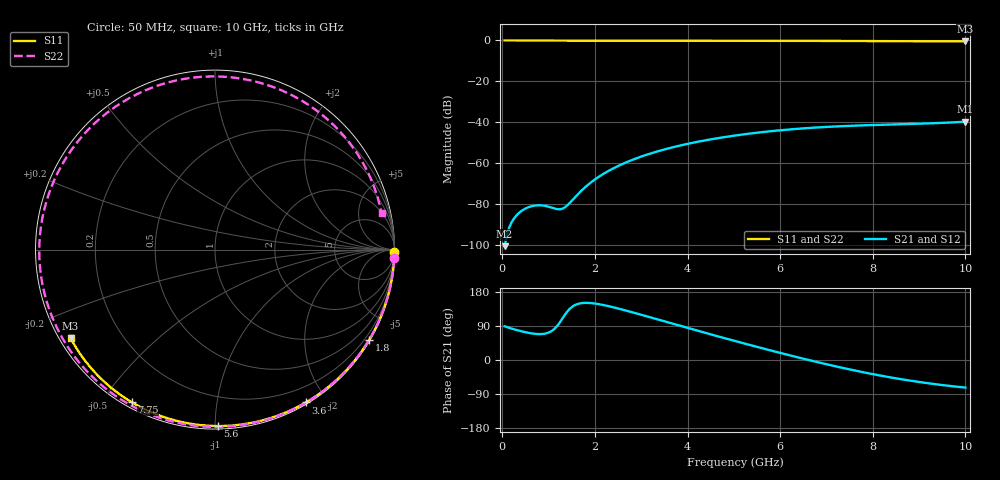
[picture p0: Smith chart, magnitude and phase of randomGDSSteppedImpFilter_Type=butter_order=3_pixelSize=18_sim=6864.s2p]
! freq	dB(S11)	phase(S11)	dB(S12)	phase(S12)
!  dB(S21)	phase(S21)	dB(S22)	phase(S22)
!S-par simulation data
#  GHz  S  DB  R 50
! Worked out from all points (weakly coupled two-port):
!   200 points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, 50 MHz to 10 GHz, reference 50 ohm
!   highest |S21| = -39.69 dB at 10 GHz (marker M1); lowest = -100.5 dB at 50 MHz (marker M2)
!   lowest |S11| = -0.5 dB at 10 GHz (marker M3), VSWR 34.50, Z = 1.56 - j14.1 ohm
!   |S11| at or under -10 dB: nowhere
!   |S22| runs from -0.4 to 0.0 dB; largest |S21 - S12| = 0
!   S11 on the Smith chart (normalised r, x): 50 MHz: open; 1.8 GHz: 0.03, -3.69; 3.6 GHz: 0.02, -1.76; 5.6 GHz: 0.02, -1.02; 7.75 GHz: 0.02, -0.59; 10 GHz: 0.03, -0.28
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0.05  -0.00 -0.9  -100.50 88.9  -100.50 88.9  -0.00 -2.8
0.4  -0.01 -6.8  -83.53 76.2  -83.53 76.2  -0.03 -22.3
0.8  -0.02 -13.6  -80.53 68.4  -80.53 68.4  -0.06 -43.8
1.1  -0.02 -18.7  -81.90 79.5  -81.90 79.5  -0.07 -59.3
1.4  -0.03 -23.7  -80.64 127.3  -80.64 127.3  -0.09 -73.9
1.75  -0.04 -29.5  -72.50 150.5  -72.50 150.5  -0.10 -90.0
1.8  -0.04 -30.4  -71.48 150.8  -71.48 150.8  -0.10 -92.2
2.1  -0.05 -35.3  -66.36 147.0  -66.36 147.0  -0.11 -105.0
2.45  -0.05 -41.0  -61.88 137.5  -61.88 137.5  -0.12 -118.9
2.9  -0.06 -48.2  -57.54 122.8  -57.54 122.8  -0.14 -135.5
3.4  -0.07 -56.1  -53.88 105.5  -53.88 105.5  -0.15 -152.7
3.6  -0.08 -59.2  -52.65 98.6  -52.65 98.6  -0.16 -159.2
4.3  -0.10 -69.9  -49.14 74.4  -49.14 74.4  -0.18 179.1
5.05  -0.12 -81.0  -46.37 49.3  -46.37 49.3  -0.21 156.9
5.6  -0.15 -89.0  -44.81 31.4  -44.81 31.4  -0.24 141.0
6.15  -0.17 -96.8  -43.58 14.1  -43.58 14.1  -0.26 125.2
6.7  -0.20 -104.4  -42.64 -2.5  -42.64 -2.5  -0.28 109.2
7.25  -0.24 -111.9  -41.95 -18.2  -41.95 -18.2  -0.31 93.2
7.75  -0.28 -118.6  -41.50 -31.2  -41.50 -31.2  -0.33 78.4
8.35  -0.33 -126.6  -41.09 -45.2  -41.09 -45.2  -0.35 60.6
9.2  -0.41 -137.9  -40.52 -61.4  -40.52 -61.4  -0.39 35.4
10  -0.50 -148.5  -39.69 -72.8  -39.69 -72.8  -0.45 12.3
